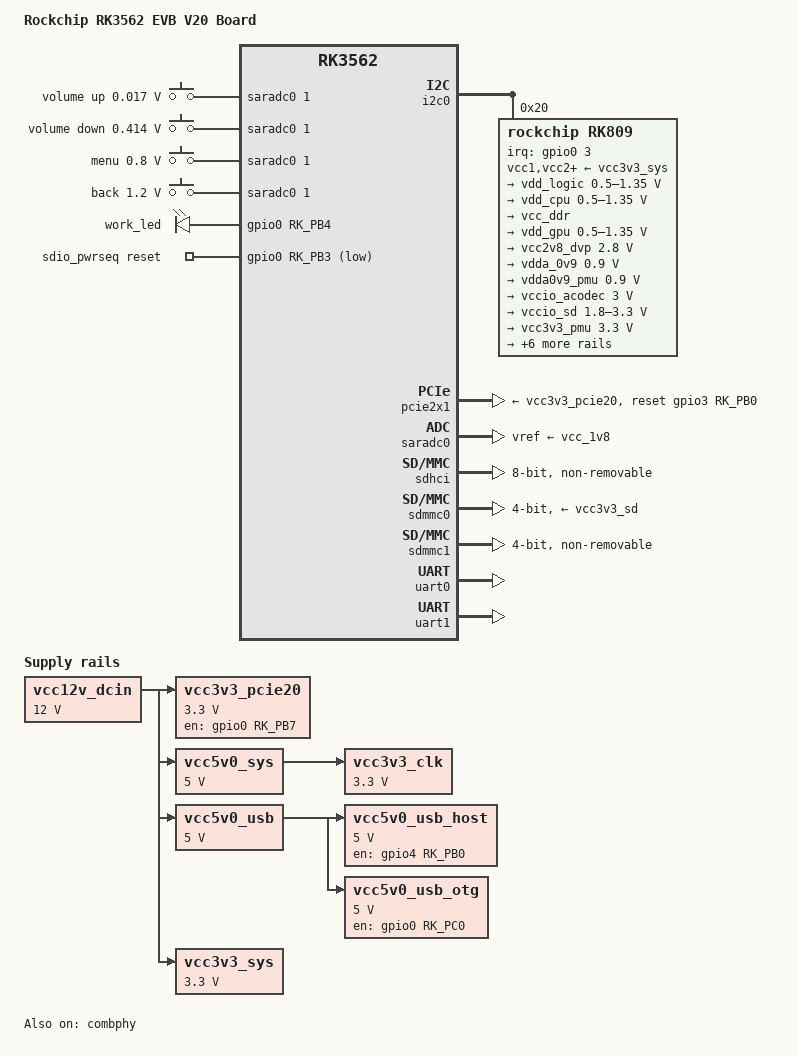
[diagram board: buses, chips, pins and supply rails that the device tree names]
// SPDX-License-Identifier: (GPL-2.0+ OR MIT)
/*
 * Copyright (c) 2024-2025 Rockchip Electronics Co., Ltd.
 *
 */

/dts-v1/;

#include <dt-bindings/gpio/gpio.h>
#include <dt-bindings/input/input.h>
#include <dt-bindings/leds/common.h>
#include <dt-bindings/pinctrl/rockchip.h>
#include "rk3562.dtsi"

/ {
	model = "Rockchip RK3562 EVB V20 Board";
	compatible = "rockchip,rk3562-evb2-v10", "rockchip,rk3562";

	chosen: chosen {
		stdout-path = "serial0:1500000n8";
	};

	adc_keys: adc-keys {
		compatible = "adc-keys";
		io-channels = <&saradc0 1>;
		io-channel-names = "buttons";
		keyup-threshold-microvolt = <1800000>;
		poll-interval = <100>;

		button-vol-up {
			linux,code = <KEY_VOLUMEUP>;
			label = "volume up";
			press-threshold-microvolt = <17000>;
		};

		button-vol-down {
			linux,code = <KEY_VOLUMEDOWN>;
			label = "volume down";
			press-threshold-microvolt = <414000>;
		};

		button-menu {
			linux,code = <KEY_MENU>;
			label = "menu";
			press-threshold-microvolt = <800000>;
		};

		button-back {
			linux,code = <KEY_BACK>;
			label = "back";
			press-threshold-microvolt = <1200000>;
		};
	};

	leds: leds {
		compatible = "gpio-leds";

		work_led: led-0 {
			gpios = <&gpio0 RK_PB4 GPIO_ACTIVE_HIGH>;
			linux,default-trigger = "heartbeat";
		};
	};

	sdio_pwrseq: sdio-pwrseq {
		compatible = "mmc-pwrseq-simple";
		clocks = <&rk809 1>;
		clock-names = "ext_clock";
		pinctrl-names = "default";
		pinctrl-0 = <&wifi_enable_h>;

		/*
		 * On the module itself this is one of these (depending
		 * on the actual card populated):
		 * - SDIO_RESET_L_WL_REG_ON
		 * - PDN (power down when low)
		 */
		post-power-on-delay-ms = <200>;
		reset-gpios = <&gpio0 RK_PB3 GPIO_ACTIVE_LOW>;
	};

	vcc12v_dcin: regulator-vcc12v-dcin {
		compatible = "regulator-fixed";
		regulator-name = "vcc12v_dcin";
		regulator-always-on;
		regulator-boot-on;
		regulator-min-microvolt = <12000000>;
		regulator-max-microvolt = <12000000>;
	};

	vcc3v3_pcie20: regulator-vcc3v3-pcie20 {
		compatible = "regulator-fixed";
		regulator-name = "vcc3v3_pcie20";
		regulator-min-microvolt = <3300000>;
		regulator-max-microvolt = <3300000>;
		enable-active-high;
		gpios = <&gpio0 RK_PB7 GPIO_ACTIVE_HIGH>;
		startup-delay-us = <5000>;
		vin-supply = <&vcc12v_dcin>;
	};

	vcc5v0_sys: regulator-vcc5v0-sys {
		compatible = "regulator-fixed";
		regulator-name = "vcc5v0_sys";
		regulator-always-on;
		regulator-boot-on;
		regulator-min-microvolt = <5000000>;
		regulator-max-microvolt = <5000000>;
		vin-supply = <&vcc12v_dcin>;
	};

	vcc5v0_usb: regulator-vcc5v0-usb {
		compatible = "regulator-fixed";
		regulator-name = "vcc5v0_usb";
		regulator-always-on;
		regulator-boot-on;
		regulator-min-microvolt = <5000000>;
		regulator-max-microvolt = <5000000>;
		vin-supply = <&vcc12v_dcin>;
	};

	vcc5v0_usb_host: regulator-vcc5v0-usb-host {
		compatible = "regulator-fixed";
		regulator-name = "vcc5v0_usb_host";
		regulator-boot-on;
		regulator-always-on;
		regulator-min-microvolt = <5000000>;
		regulator-max-microvolt = <5000000>;
		enable-active-high;
		gpio = <&gpio4 RK_PB0 GPIO_ACTIVE_HIGH>;
		vin-supply = <&vcc5v0_usb>;
		pinctrl-names = "default";
		pinctrl-0 = <&usb_host_pwren>;
	};

	vcc5v0_usb_otg: regulator-vcc5v0-usb-otg {
		compatible = "regulator-fixed";
		regulator-name = "vcc5v0_usb_otg";
		regulator-min-microvolt = <5000000>;
		regulator-max-microvolt = <5000000>;
		enable-active-high;
		gpio = <&gpio0 RK_PC0 GPIO_ACTIVE_HIGH>;
		vin-supply = <&vcc5v0_usb>;
		pinctrl-names = "default";
		pinctrl-0 = <&usb_otg_pwren>;
	};

	vcc3v3_clk: regulator-vcc3v3-clk {
		compatible = "regulator-fixed";
		regulator-name = "vcc3v3_clk";
		regulator-min-microvolt = <3300000>;
		regulator-max-microvolt = <3300000>;
		vin-supply = <&vcc5v0_sys>;
	};

	vcc3v3_sys: regulator-vcc-sys {
		compatible = "regulator-fixed";
		regulator-name = "vcc3v3_sys";
		regulator-always-on;
		regulator-boot-on;
		regulator-min-microvolt = <3300000>;
		regulator-max-microvolt = <3300000>;
		vin-supply = <&vcc12v_dcin>;
	};
};

&combphy {
	status = "okay";
};

&i2c0 {
	status = "okay";

	rk809: pmic@20 {
		compatible = "rockchip,rk809";
		reg = <0x20>;
		interrupt-parent = <&gpio0>;
		interrupts = <3 IRQ_TYPE_LEVEL_LOW>;

		pinctrl-names = "default", "pmic-sleep",
			"pmic-power-off", "pmic-reset";
		pinctrl-0 = <&pmic_int>;
		rockchip,system-power-controller;
		wakeup-source;
		#clock-cells = <1>;
		clock-output-names = "rk808-clkout1", "rk808-clkout2";

		vcc1-supply = <&vcc3v3_sys>;
		vcc2-supply = <&vcc3v3_sys>;
		vcc3-supply = <&vcc3v3_sys>;
		vcc4-supply = <&vcc3v3_sys>;
		vcc5-supply = <&vcc3v3_sys>;
		vcc6-supply = <&vcc3v3_sys>;
		vcc7-supply = <&vcc3v3_sys>;
		vcc8-supply = <&vcc3v3_sys>;
		vcc9-supply = <&vcc3v3_sys>;

		regulators {
			vdd_logic: DCDC_REG1 {
				regulator-always-on;
				regulator-boot-on;
				regulator-min-microvolt = <500000>;
				regulator-max-microvolt = <1350000>;
				regulator-ramp-delay = <6001>;
				regulator-initial-mode = <0x2>;
				regulator-name = "vdd_logic";
				regulator-state-mem {
					regulator-off-in-suspend;
				};
			};

			vdd_cpu: DCDC_REG2 {
				regulator-always-on;
				regulator-boot-on;
				regulator-min-microvolt = <500000>;
				regulator-max-microvolt = <1350000>;
				regulator-ramp-delay = <6001>;
				regulator-initial-mode = <0x2>;
				regulator-name = "vdd_cpu";
				regulator-state-mem {
					regulator-off-in-suspend;
				};
			};

			vcc_ddr: DCDC_REG3 {
				regulator-always-on;
				regulator-boot-on;
				regulator-initial-mode = <0x2>;
				regulator-name = "vcc_ddr";
				regulator-state-mem {
					regulator-on-in-suspend;
				};
			};

			vdd_gpu: DCDC_REG4 {
				regulator-always-on;
				regulator-boot-on;
				regulator-min-microvolt = <500000>;
				regulator-max-microvolt = <1350000>;
				regulator-ramp-delay = <6001>;
				regulator-initial-mode = <0x2>;
				regulator-name = "vdd_gpu";
				regulator-state-mem {
					regulator-off-in-suspend;
				};
			};

			vcc2v8_dvp: LDO_REG1 {
				regulator-min-microvolt = <2800000>;
				regulator-max-microvolt = <2800000>;
				regulator-name = "vcc2v8_dvp";
				regulator-state-mem {
					regulator-off-in-suspend;
				};
			};

			vdda_0v9: LDO_REG2 {
				regulator-always-on;
				regulator-boot-on;
				regulator-min-microvolt = <900000>;
				regulator-max-microvolt = <900000>;
				regulator-name = "vdda_0v9";
				regulator-state-mem {
					regulator-off-in-suspend;
				};
			};

			vdda0v9_pmu: LDO_REG3 {
				regulator-always-on;
				regulator-boot-on;
				regulator-min-microvolt = <900000>;
				regulator-max-microvolt = <900000>;
				regulator-name = "vdda0v9_pmu";
				regulator-state-mem {
				regulator-on-in-suspend;
					regulator-suspend-microvolt = <900000>;
				};
			};

			vccio_acodec: LDO_REG4 {
				regulator-always-on;
				regulator-boot-on;
				regulator-min-microvolt = <3000000>;
				regulator-max-microvolt = <3000000>;
				regulator-name = "vccio_acodec";
				regulator-state-mem {
					regulator-off-in-suspend;
				};
			};

			vccio_sd: LDO_REG5 {
				regulator-always-on;
				regulator-boot-on;
				regulator-min-microvolt = <1800000>;
				regulator-max-microvolt = <3300000>;
				regulator-name = "vccio_sd";
				regulator-state-mem {
					regulator-off-in-suspend;
				};
			};

			vcc3v3_pmu: LDO_REG6 {
				regulator-always-on;
				regulator-boot-on;
				regulator-min-microvolt = <3300000>;
				regulator-max-microvolt = <3300000>;
				regulator-name = "vcc3v3_pmu";
				regulator-state-mem {
					regulator-on-in-suspend;
					regulator-suspend-microvolt = <3300000>;
				};
			};

			vcca_1v8: LDO_REG7 {
				regulator-always-on;
				regulator-boot-on;
				regulator-min-microvolt = <1800000>;
				regulator-max-microvolt = <1800000>;
				regulator-name = "vcca_1v8";
				regulator-state-mem {
					regulator-off-in-suspend;
				};
			};

			vcca1v8_pmu: LDO_REG8 {
				regulator-always-on;
				regulator-boot-on;
				regulator-min-microvolt = <1800000>;
				regulator-max-microvolt = <1800000>;
				regulator-name = "vcca1v8_pmu";
				regulator-state-mem {
				regulator-on-in-suspend;
					regulator-suspend-microvolt = <1800000>;
				};
			};

			vcc1v8_dvp: LDO_REG9 {
				regulator-min-microvolt = <1800000>;
				regulator-max-microvolt = <1800000>;
				regulator-name = "vcc1v8_dvp";
				regulator-state-mem {
					regulator-off-in-suspend;
				};
			};

			vcc_1v8: DCDC_REG5 {
				regulator-always-on;
				regulator-boot-on;
				regulator-min-microvolt = <1800000>;
				regulator-max-microvolt = <1800000>;
				regulator-name = "vcc_1v8";
				regulator-state-mem {
					regulator-off-in-suspend;
				};
			};

			vcc_3v3: SWITCH_REG1 {
				regulator-always-on;
				regulator-boot-on;
				regulator-name = "vcc_3v3";
				regulator-state-mem {
					regulator-off-in-suspend;
				};
			};

			vcc3v3_sd: SWITCH_REG2 {
				regulator-always-on;
				regulator-boot-on;
				regulator-name = "vcc3v3_sd";
				regulator-state-mem {
					regulator-off-in-suspend;
				};
			};
		};
	};
};

&pcie2x1 {
	reset-gpios = <&gpio3 RK_PB0 GPIO_ACTIVE_HIGH>;
	vpcie3v3-supply = <&vcc3v3_pcie20>;
	status = "okay";
};

&pinctrl {
	sdio-pwrseq {
		wifi_enable_h: wifi-enable-h {
			rockchip,pins = <0 RK_PB3 RK_FUNC_GPIO &pcfg_pull_none>;
		};
	};

	usb {
		usb_host_pwren: usb-host-pwren {
			rockchip,pins = <4 RK_PB0 RK_FUNC_GPIO &pcfg_pull_none>;
		};

		usb_otg_pwren: usb-otg-pwren {
			rockchip,pins = <0 RK_PC0 RK_FUNC_GPIO &pcfg_pull_none>;
		};
	};
};

&saradc0 {
	vref-supply = <&vcc_1v8>;
	status = "okay";
};

&sdhci {
	bus-width = <8>;
	no-sdio;
	no-sd;
	non-removable;
	mmc-hs400-1_8v;
	mmc-hs400-enhanced-strobe;
	full-pwr-cycle-in-suspend;
	status = "okay";
};

&sdmmc0 {
	no-sdio;
	no-mmc;
	bus-width = <4>;
	cap-mmc-highspeed;
	cap-sd-highspeed;
	disable-wp;
	pinctrl-names = "default";
	pinctrl-0 = <&sdmmc0_bus4 &sdmmc0_clk &sdmmc0_cmd &sdmmc0_det>;
	sd-uhs-sdr104;
	vmmc-supply = <&vcc3v3_sd>;
	vqmmc-supply = <&vccio_sd>;
	status = "okay";
};

&sdmmc1 {
	no-sd;
	no-mmc;
	bus-width = <4>;
	disable-wp;
	cap-sd-highspeed;
	cap-sdio-irq;
	keep-power-in-suspend;
	mmc-pwrseq = <&sdio_pwrseq>;
	non-removable;
	pinctrl-names = "default";
	pinctrl-0 = <&sdmmc1_bus4 &sdmmc1_cmd &sdmmc1_clk>;
	sd-uhs-sdr104;
	status = "okay";
};

&uart0 {
	status = "okay";
};

&uart1 {
	pinctrl-names = "default";
	pinctrl-0 = <&uart1m0_xfer &uart1m0_ctsn>;
	status = "okay";
};
